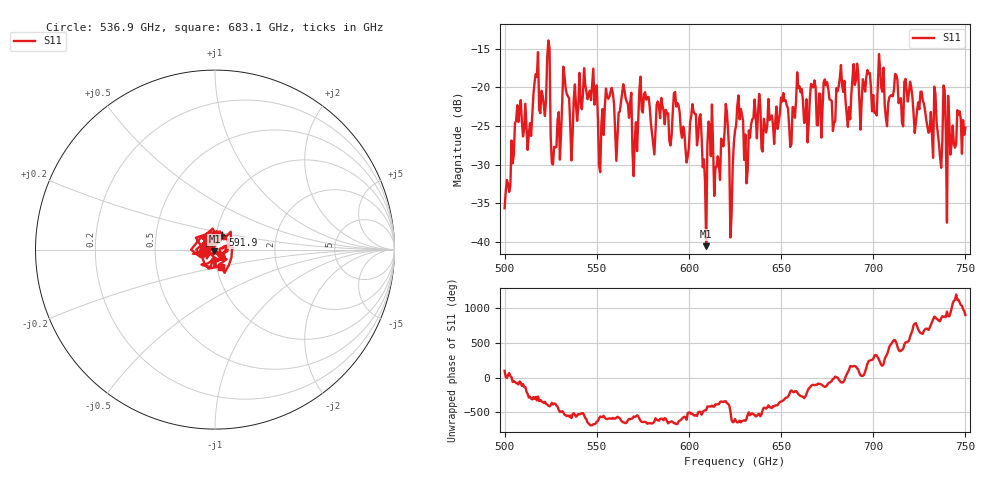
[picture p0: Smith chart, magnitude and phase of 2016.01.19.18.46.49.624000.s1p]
!Created with skrf (http://scikit-rf.org).
# GHz S RI R 50.0
!freq ReS11 ImS11
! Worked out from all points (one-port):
!   401 points, 500 GHz to 750 GHz, reference 50 ohm
!   lowest |S11| = -40.6 dB at 609.4 GHz (marker M1), VSWR 1.02, Z = 49.7 - j0.881 ohm
!   |S11| at or under -10 dB: start of sweep to end of sweep
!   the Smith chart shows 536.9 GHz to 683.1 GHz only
!   S11 on the Smith chart (normalised r, x): 536.9 GHz: 0.91, -0.02; 591.9 GHz: 1.07, +0.18; 683.1 GHz: 1.05, -0.21
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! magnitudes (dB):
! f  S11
! 500 GHz  -35.7
! 507.5 GHz  -24.5
! 513.1 GHz  -26.1
! 516.9 GHz  -18.3
! 523.8 GHz  -13.9
! 526.9 GHz  -27.7
! 531.2 GHz  -22.0
! 536.9 GHz  -26.2
! 562.5 GHz  -23.1
! 570.6 GHz  -26.8
! 574.4 GHz  -22.9
! 580.6 GHz  -27.2
! 591.9 GHz  -20.8
! 593.8 GHz  -22.0
! 609.4 GHz  -40.6
! 611.2 GHz  -25.0
! 615 GHz  -30.3
! 620 GHz  -22.1
! 623.1 GHz  -36.7
! 625 GHz  -25.6
! 656.2 GHz  -22.5
! 660 GHz  -19.8
! 663.8 GHz  -21.5
! 683.1 GHz  -19.8
! 687.5 GHz  -24.1
! 718.8 GHz  -21.8
! 736.2 GHz  -29.0
! 750 GHz  -25.2
